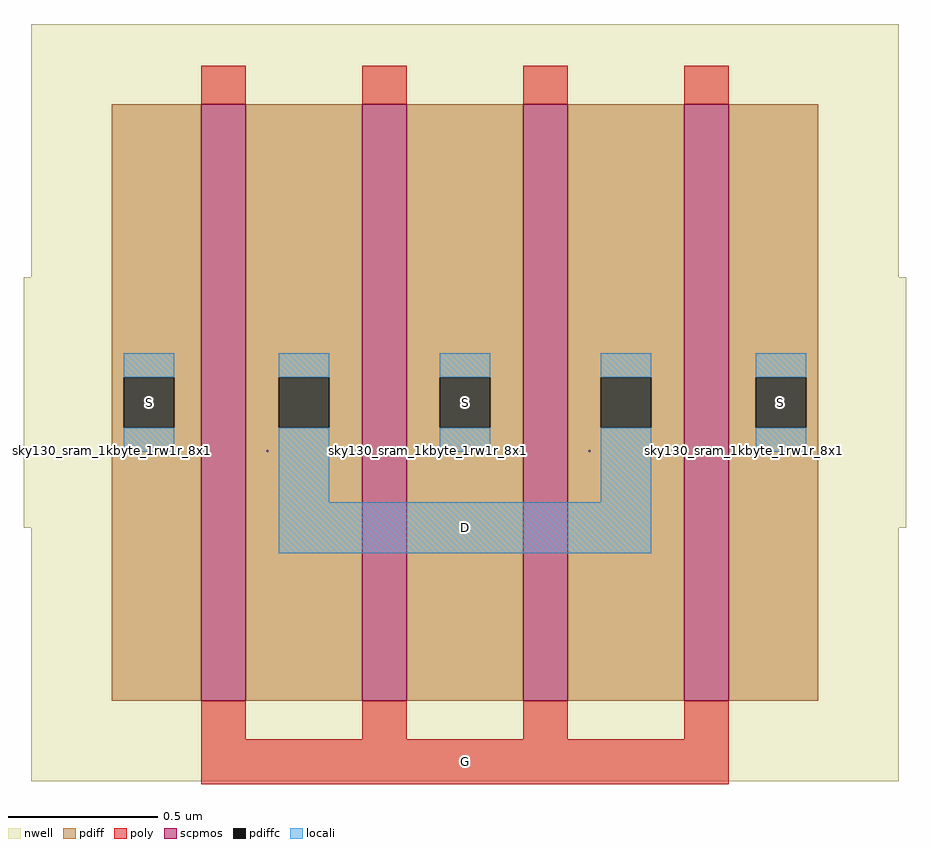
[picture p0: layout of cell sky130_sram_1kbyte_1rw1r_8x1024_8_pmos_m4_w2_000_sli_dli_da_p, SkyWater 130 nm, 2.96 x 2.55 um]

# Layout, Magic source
magic
tech sky130A
magscale 1 2
<< nwell >>
rect -54 284 528 454
rect -59 116 533 284
rect -54 -54 528 116
<< scpmos >>
rect 60 0 90 400
rect 168 0 198 400
rect 276 0 306 400
rect 384 0 414 400
<< pdiff >>
rect 0 217 60 400
rect 0 183 8 217
rect 42 183 60 217
rect 0 0 60 183
rect 90 217 168 400
rect 90 183 112 217
rect 146 183 168 217
rect 90 0 168 183
rect 198 217 276 400
rect 198 183 220 217
rect 254 183 276 217
rect 198 0 276 183
rect 306 217 384 400
rect 306 183 328 217
rect 362 183 384 217
rect 306 0 384 183
rect 414 217 474 400
rect 414 183 432 217
rect 466 183 474 217
rect 414 0 474 183
<< pdiffc >>
rect 8 183 42 217
rect 112 183 146 217
rect 220 183 254 217
rect 328 183 362 217
rect 432 183 466 217
<< poly >>
rect 60 400 90 426
rect 168 400 198 426
rect 276 400 306 426
rect 384 400 414 426
rect 60 -26 90 0
rect 168 -26 198 0
rect 276 -26 306 0
rect 384 -26 414 0
rect 60 -56 414 -26
<< locali >>
rect 8 217 42 233
rect 8 167 42 183
rect 112 217 146 233
rect 112 133 146 183
rect 220 217 254 233
rect 220 167 254 183
rect 328 217 362 233
rect 328 133 362 183
rect 432 217 466 233
rect 432 167 466 183
rect 112 99 362 133
use sky130_sram_1kbyte_1rw1r_8x1024_8_contact_12  sky130_sram_1kbyte_1rw1r_8x1024_8_contact_12_0
transform 1 0 424 0 1 167
box 0 0 1 1
use sky130_sram_1kbyte_1rw1r_8x1024_8_contact_12  sky130_sram_1kbyte_1rw1r_8x1024_8_contact_12_1
transform 1 0 320 0 1 167
box 0 0 1 1
use sky130_sram_1kbyte_1rw1r_8x1024_8_contact_12  sky130_sram_1kbyte_1rw1r_8x1024_8_contact_12_2
transform 1 0 212 0 1 167
box 0 0 1 1
use sky130_sram_1kbyte_1rw1r_8x1024_8_contact_12  sky130_sram_1kbyte_1rw1r_8x1024_8_contact_12_3
transform 1 0 104 0 1 167
box 0 0 1 1
use sky130_sram_1kbyte_1rw1r_8x1024_8_contact_12  sky130_sram_1kbyte_1rw1r_8x1024_8_contact_12_4
transform 1 0 0 0 1 167
box 0 0 1 1
<< labels >>
rlabel locali s 25 200 25 200 4 S
port 1 nsew
rlabel locali s 449 200 449 200 4 S
port 1 nsew
rlabel locali s 237 200 237 200 4 S
port 1 nsew
rlabel locali s 237 116 237 116 4 D
port 2 nsew
rlabel poly s 237 -41 237 -41 4 G
port 3 nsew
<< properties >>
string FIXED_BBOX -54 -56 528 116
string GDS_FILE $PDKPATH/libs.ref/sky130_sram_macros/gds/sky130_sram_1kbyte_1rw1r_8x1024_8.gds
string GDS_END 80376
string GDS_START 78758
<< end >>
